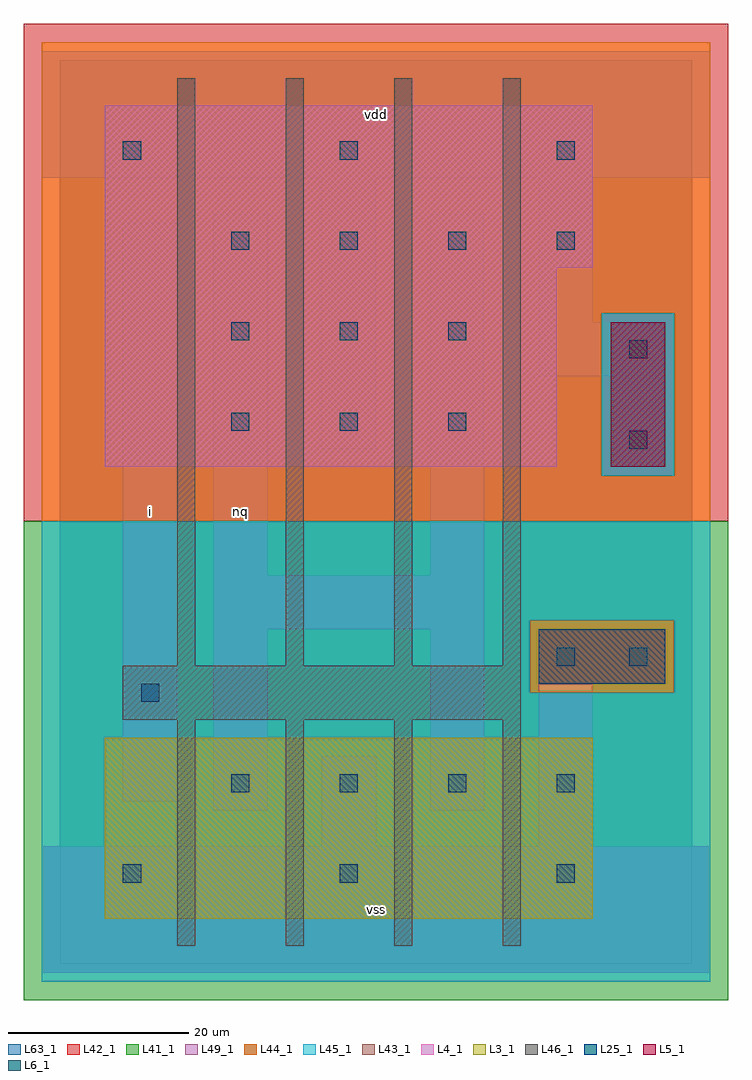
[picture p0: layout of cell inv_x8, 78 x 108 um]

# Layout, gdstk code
import gdstk
lib = gdstk.Library(unit=1e-6, precision=1e-09)
def R(c, l, rs):  # rectangles x0, y0, x1, y1
    for r in rs: c.add(gdstk.rectangle(r[:2], r[2:], *l))
def A(c, l, x, y, w, h, nx, ny, dx, dy):  # array of equal rectangles
    R(c, l, [(x+i*dx, y+j*dy, x+i*dx+w, y+j*dy+h) for i in range(nx) for j in range(ny)])
L3_1 = (3, 1)
L4_1 = (4, 1)
L5_1 = (5, 1)
L6_1 = (6, 1)
L25_1 = (25, 1)
L41_1 = (41, 1)
L42_1 = (42, 1)
L43_1 = (43, 1)
L44_1 = (44, 1)
L45_1 = (45, 1)
L46_1 = (46, 1)
L49_1 = (49, 1)
L63_1 = (63, 1)

inv_x8 = lib.new_cell('inv_x8')
R(inv_x8, L3_1, [(5,5,59,25)])
R(inv_x8, L4_1, [(5,55,55,77), (5,77,59,95)])
R(inv_x8, L5_1, [(61,55,67,71)])
R(inv_x8, L6_1, [(53,31,67,37)])
A(inv_x8, L25_1, 7, 9, 2, 2, 3, 2, 24, 80)
A(inv_x8, L25_1, 19, 19, 2, 2, 4, 2, 12, 60)
A(inv_x8, L25_1, 19, 59, 2, 2, 3, 2, 12, 10)
R(inv_x8, L25_1, [(9,29,11,31), (55,33,57,35), (63,33,65,35), (63,57,65,59), (63,67,65,69)])
R(inv_x8, L41_1, [(-4,-4,74,49)])
R(inv_x8, L42_1, [(-4,49,74,104)])
R(inv_x8, L43_1, [(5,5,59,25), (53,31,67,37), (5,55,55,77), (61,55,67,71), (5,77,59,95)])
R(inv_x8, L44_1, [(52,30,68,38), (-2,49,72,54), (-2,54,60,72), (68,54,72,72), (-2,72,72,102)])
R(inv_x8, L45_1, [(-2,-2,72,30), (-2,30,52,38), (68,30,72,38), (-2,38,72,49), (60,54,68,72)])
A(inv_x8, L46_1, 13, 2, 2, 25, 4, 1, 12, 0)
A(inv_x8, L46_1, 13, 33, 2, 65, 4, 1, 12, 0)
R(inv_x8, L46_1, [(7,27,51,33)])
R(inv_x8, L49_1, [(-2,-1,72,13), (29,13,35,23), (53,13,59,31), (17,17,23,37), (41,17,47,37), (7,18,13,82), (53,31,67,37), (17,37,47,43), (17,43,23,83), (41,43,47,83), (61,55,67,65), (29,57,35,87), (53,65,67,71), (53,71,59,87), (-2,87,72,101)])
R(inv_x8, L63_1, [(0,0,70,100)])
inv_x8.add(gdstk.Label('i', (10,50), layer=49, texttype=1))
inv_x8.add(gdstk.Label('i', (10,50), layer=49, texttype=1))
inv_x8.add(gdstk.Label('nq', (20,50), layer=49, texttype=1))
inv_x8.add(gdstk.Label('nq', (20,50), layer=49, texttype=1))
inv_x8.add(gdstk.Label('vss', (35,6), layer=49, texttype=1))
inv_x8.add(gdstk.Label('vss', (35,6), layer=49, texttype=1))
inv_x8.add(gdstk.Label('vdd', (35,94), layer=49, texttype=1))
inv_x8.add(gdstk.Label('vdd', (35,94), layer=49, texttype=1))

lib.write_gds('inv_x8.gds')
